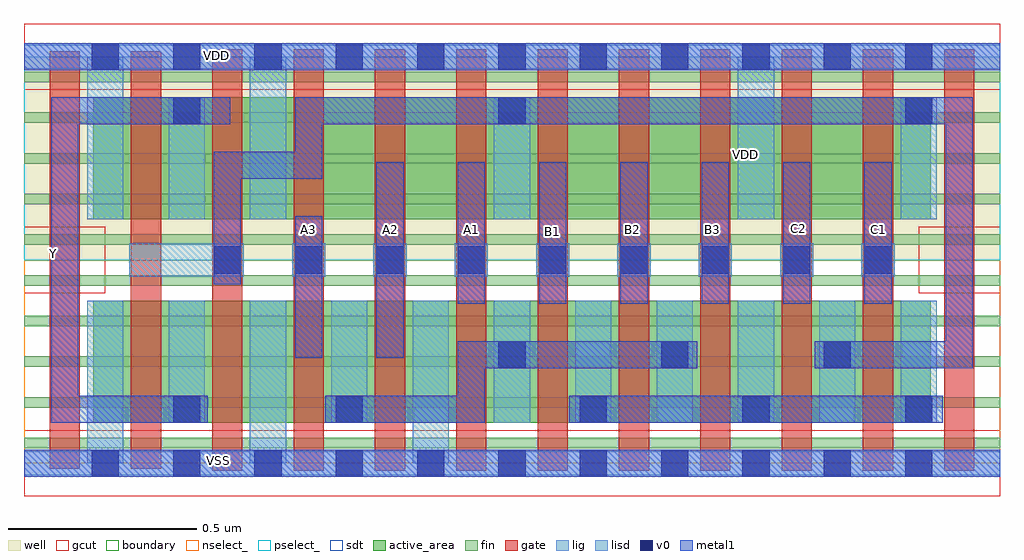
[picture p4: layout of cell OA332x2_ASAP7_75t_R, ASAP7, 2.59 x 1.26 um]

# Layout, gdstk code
import gdstk
lib = gdstk.Library(unit=1e-6, precision=2.5e-10)
def R(c, l, rs):  # rectangles x0, y0, x1, y1
    for r in rs: c.add(gdstk.rectangle(r[:2], r[2:], *l))
def A(c, l, x, y, w, h, nx, ny, dx, dy):  # array of equal rectangles
    R(c, l, [(x+i*dx, y+j*dy, x+i*dx+w, y+j*dy+h) for i in range(nx) for j in range(ny)])
def P(c, l, *ps):  # polygons
    for p in ps: c.add(gdstk.Polygon(p, *l))
well = (1, 0)
fin = (2, 0)
gate = (7, 0)
gcut = (10, 0)
active_area = (11, 0)
nselect_ = (12, 0)
pselect_ = (13, 0)
lig = (16, 0)
lisd = (17, 0)
v0 = (18, 0)
metal1 = (19, 0)
sdt = (88, 0)
boundary = (100, 0)

oa332x2_asap7_75t_r = lib.new_cell('OA332x2_ASAP7_75t_R')
R(oa332x2_asap7_75t_r, well, [(0,0.54,2.592,1.08)])
A(oa332x2_asap7_75t_r, fin, 0, 0.04, 2.592, 0.028, 1, 10, 0, 0.108)
A(oa332x2_asap7_75t_r, gate, 0.5, -0.02, 0.08, 1.12, 10, 1, 0.216, 0)
R(oa332x2_asap7_75t_r, gate, [(0.068,-0.014,0.148,1.094), (0.284,-0.014,0.364,1.094)])
R(oa332x2_asap7_75t_r, gcut, [(0,-0.088,2.592,0.088), (0,0.452,0.216,0.628), (2.376,0.452,2.592,0.628), (0,0.992,2.592,1.168)])
R(oa332x2_asap7_75t_r, active_area, [(0.184,0.108,2.408,0.432), (0.184,0.648,2.408,0.972)])
R(oa332x2_asap7_75t_r, nselect_, [(0,0,2.592,0.54)])
R(oa332x2_asap7_75t_r, pselect_, [(0,0.54,2.592,1.08)])
A(oa332x2_asap7_75t_r, lig, 0.712, 0.496, 0.088, 0.088, 8, 1, 0.216, 0)
R(oa332x2_asap7_75t_r, lig, [(0,-0.032,2.592,0.032), (0.28,0.496,0.584,0.584), (0,1.048,2.592,1.112)])
A(oa332x2_asap7_75t_r, lisd, 0.168, 0, 0.096, 0.432, 3, 1, 0.432, 0)
A(oa332x2_asap7_75t_r, lisd, 0.384, 0.108, 0.096, 0.324, 3, 1, 0.432, 0)
A(oa332x2_asap7_75t_r, lisd, 1.464, 0.108, 0.096, 0.324, 5, 1, 0.216, 0)
R(oa332x2_asap7_75t_r, lisd, [(0.168,0.648,0.264,1.08), (0.384,0.648,0.48,0.972), (0.6,0.648,0.696,1.08), (1.248,0.648,1.344,0.972), (1.896,0.648,1.992,1.08), (2.328,0.648,2.424,0.972)])
A(oa332x2_asap7_75t_r, v0, 0.18, -0.036, 0.072, 0.072, 11, 2, 0.216, 1.08)
A(oa332x2_asap7_75t_r, v0, 1.476, 0.108, 0.072, 0.072, 3, 1, 0.432, 0)
A(oa332x2_asap7_75t_r, v0, 1.26, 0.252, 0.072, 0.072, 3, 1, 0.432, 0)
A(oa332x2_asap7_75t_r, v0, 0.504, 0.504, 0.072, 0.072, 9, 1, 0.216, 0)
R(oa332x2_asap7_75t_r, v0, [(0.396,0.108,0.468,0.18), (0.828,0.108,0.9,0.18), (0.396,0.9,0.468,0.972), (1.26,0.9,1.332,0.972), (2.34,0.9,2.412,0.972)])
A(oa332x2_asap7_75t_r, metal1, 1.152, 0.424, 0.072, 0.376, 6, 1, 0.216, 0)
R(oa332x2_asap7_75t_r, metal1, [(0,-0.036,2.592,0.036), (1.448,0.108,2.44,0.18), (0.72,0.28,0.792,0.656), (0.936,0.28,1.008,0.8), (0,1.044,2.592,1.116)])
P(oa332x2_asap7_75t_r, metal1, [(0.548,0.972),(0.072,0.972),(0.072,0.108),(0.488,0.108),(0.488,0.18),(0.144,0.18),(0.144,0.9),(0.548,0.9)],
  [(1.788,0.324),(1.152,0.324),(1.152,0.18),(0.8,0.18),(0.8,0.108),(1.224,0.108),(1.224,0.252),(1.788,0.252)],
  [(2.52,0.972),(0.72,0.972),(0.72,0.828),(0.504,0.828),(0.504,0.476),(0.576,0.476),(0.576,0.756),(0.792,0.756),(0.792,0.9),(2.448,0.9),(2.448,0.324),(2.1,0.324),(2.1,0.252),(2.52,0.252)])
A(oa332x2_asap7_75t_r, sdt, 0.168, 0.108, 0.096, 0.324, 3, 2, 0.216, 0.54)
A(oa332x2_asap7_75t_r, sdt, 0.6, 0.108, 0.096, 0.324, 9, 1, 0.216, 0)
A(oa332x2_asap7_75t_r, sdt, 0.6, 0.648, 0.096, 0.324, 3, 1, 0.648, 0)
R(oa332x2_asap7_75t_r, sdt, [(2.328,0.648,2.424,0.972)])
R(oa332x2_asap7_75t_r, boundary, [(0,0,2.592,1.08)])
oa332x2_asap7_75t_r.add(gdstk.Label('B2', (1.616,0.62), layer=19, texttype=251))
oa332x2_asap7_75t_r.add(gdstk.Label('B1', (1.404,0.616), layer=19, texttype=251))
oa332x2_asap7_75t_r.add(gdstk.Label('A1', (1.188,0.62), layer=19, texttype=251))
oa332x2_asap7_75t_r.add(gdstk.Label('A2', (0.972,0.62), layer=19, texttype=251))
oa332x2_asap7_75t_r.add(gdstk.Label('A3', (0.756,0.62), layer=19, texttype=251))
oa332x2_asap7_75t_r.add(gdstk.Label('Y', (0.078,0.558), layer=19, texttype=251))
oa332x2_asap7_75t_r.add(gdstk.Label('VDD', (0.512,1.084), layer=19, texttype=251))
oa332x2_asap7_75t_r.add(gdstk.Label('VSS', (0.516,0.008), layer=19, texttype=251))
oa332x2_asap7_75t_r.add(gdstk.Label('B3', (1.828,0.62), layer=19, texttype=251))
oa332x2_asap7_75t_r.add(gdstk.Label('C2', (2.056,0.624), layer=19, texttype=251))
oa332x2_asap7_75t_r.add(gdstk.Label('C1', (2.268,0.62), layer=19, texttype=251))
oa332x2_asap7_75t_r.add(gdstk.Label('VDD', (1.916,0.82), layer=1, texttype=251))
oa332x2_asap7_75t_r.add(gdstk.Label('VSS', (1.68,-0.184), layer=3, texttype=251))

lib.write_gds('OA332x2_ASAP7_75t_R.gds')
